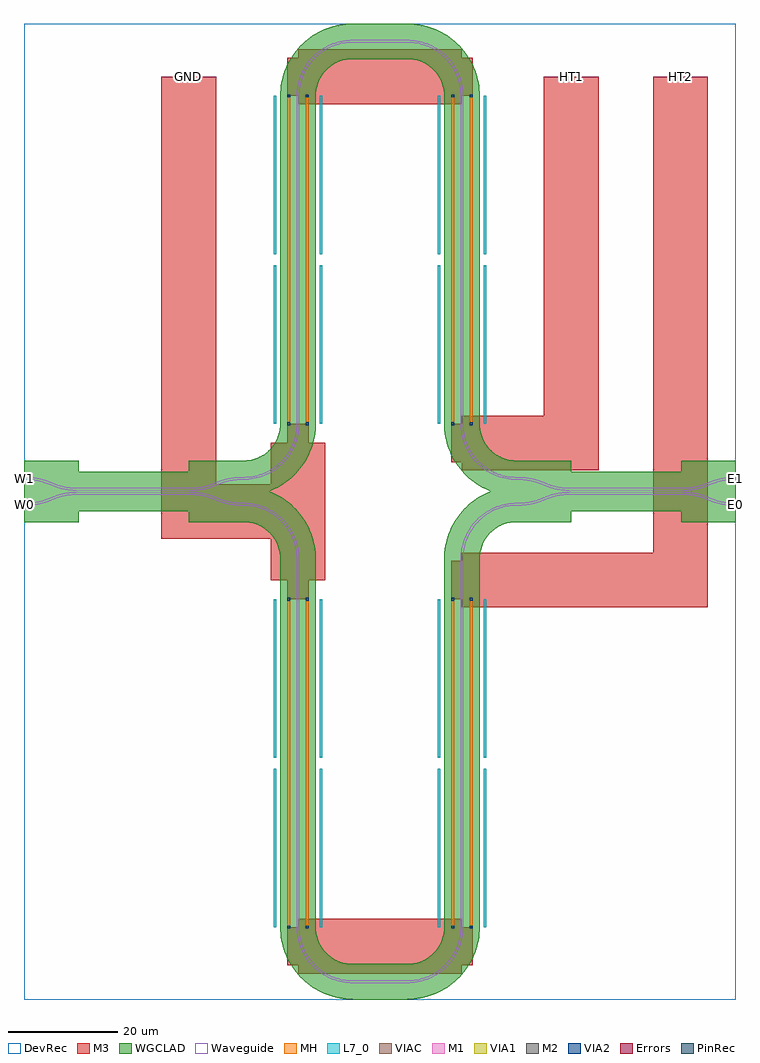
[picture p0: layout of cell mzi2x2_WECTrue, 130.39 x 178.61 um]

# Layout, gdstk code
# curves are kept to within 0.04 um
from math import pi, radians
import gdstk
lib = gdstk.Library(unit=1e-6, precision=1e-09)
def R(c, l, rs):  # rectangles x0, y0, x1, y1
    for r in rs: c.add(gdstk.rectangle(r[:2], r[2:], *l))
def P(c, l, *ps):  # polygons
    for p in ps: c.add(gdstk.Polygon(p, *l))
Waveguide = (1, 0)
PinRec = (1, 10)
L7_0 = (7, 0)
VIAC = (40, 0)
M1 = (41, 0)
VIA2 = (43, 0)
VIA1 = (44, 0)
M2 = (45, 0)
MH = (47, 0)
M3 = (49, 0)
DevRec = (68, 0)
Errors = (69, 0)
WGCLAD = (111, 0)

coupler_g234m_l20p15 = lib.new_cell('coupler_G234m_L20p15')
R(coupler_g234m_l20p15, Waveguide, [(0,0,20.147,0.5), (0,0.734,20.147,1.234)])
P(coupler_g234m_l20p15, Waveguide, [(0,0),(-1.603,-0.081),(-2.864,-0.294),(-3.98,-0.626),(-6.105,-1.432),(-7.326,-1.759),(-8.593,-1.941),(-10,-2),(-10,-1.5),(-8.397,-1.419),(-7.136,-1.206),(-6.02,-0.874),(-3.895,-0.068),(-2.674,0.259),(-1.407,0.441),(0,0.5)],
  [(0,1.234),(-1.603,1.315),(-2.864,1.528),(-3.98,1.86),(-6.105,2.666),(-7.326,2.993),(-8.593,3.175),(-10,3.234),(-10,2.734),(-8.397,2.653),(-7.136,2.44),(-6.02,2.108),(-3.895,1.302),(-2.674,0.975),(-1.407,0.793),(0,0.734)],
  [(20.147,1.234),(21.75,1.315),(23.011,1.528),(24.127,1.86),(26.252,2.666),(27.473,2.993),(28.74,3.175),(30.147,3.234),(30.147,2.734),(28.544,2.653),(27.283,2.44),(26.167,2.108),(24.042,1.302),(22.821,0.975),(21.554,0.793),(20.147,0.734)],
  [(20.147,0),(21.75,-0.081),(23.011,-0.294),(24.127,-0.626),(26.252,-1.432),(27.473,-1.759),(28.74,-1.941),(30.147,-2),(30.147,-1.5),(28.544,-1.419),(27.283,-1.206),(26.167,-0.874),(24.042,-0.068),(22.821,0.259),(21.554,0.441),(20.147,0.5)])
R(coupler_g234m_l20p15, WGCLAD, [(-10,-5,0,3.5), (20.147,-5,30.147,3.5), (0,-3,20.147,4.234), (-10,-2.266,0,6.234), (20.147,-2.266,30.147,6.234)])

bend_circular_r10p00 = lib.new_cell('bend_circular_R10p00')
P(bend_circular_r10p00, Waveguide, [(9.75,10),(9.593,8.259),(9.128,6.574),(8.37,4.999),(7.623,3.921),(7.047,3.262),(5.731,2.112),(4.23,1.216),(3.013,0.727),(2.17,0.494),(0.874,0.289),(0,0.25),(0,-0.25),(0.919,-0.209),(2.281,0.007),(3.167,0.252),(4.029,0.575),(4.857,0.974),(5.647,1.446),(6.391,1.986),(7.409,2.917),(8.014,3.609),(8.799,4.743),(9.425,5.971),(9.748,6.833),(9.993,7.719),(10.157,8.624),(10.25,10)])
P(bend_circular_r10p00, WGCLAD, [(6.75,10),(6.642,8.795),(6.32,7.628),(5.795,6.538),(5.461,6.032),(4.879,5.335),(3.968,4.539),(3.462,4.205),(2.653,3.793),(2.086,3.58),(1.205,3.358),(0,3.25),(0,-3.25),(1.779,-3.13),(3.525,-2.773),(5.208,-2.184),(6.796,-1.374),(8.261,-0.359),(9.577,0.843),(10.719,2.212),(11.668,3.721),(12.184,4.792),(12.773,6.475),(13.13,8.221),(13.25,10)])

wg_heater_connected_l60p = lib.new_cell('wg_heater_connected_L60p00')
R(wg_heater_connected_l60p, Waveguide, [(0,-0.25,60,0.25)])
R(wg_heater_connected_l60p, L7_0, [(0,-4.45,29,-3.95), (31,-4.45,60,-3.95), (0,3.95,29,4.45), (31,3.95,60,4.45)])
R(wg_heater_connected_l60p, VIAC, [(-0.25,-1.95,0.25,-1.45), (59.75,-1.95,60.25,-1.45), (-0.25,1.45,0.25,1.95), (59.75,1.45,60.25,1.95)])
R(wg_heater_connected_l60p, M1, [(-0.25,-1.95,0.25,-1.45), (59.75,-1.95,60.25,-1.45), (-0.25,1.45,0.25,1.95), (59.75,1.45,60.25,1.95)])
R(wg_heater_connected_l60p, VIA2, [(-0.25,-1.95,0.25,-1.45), (59.75,-1.95,60.25,-1.45), (-0.25,1.45,0.25,1.95), (59.75,1.45,60.25,1.95)])
R(wg_heater_connected_l60p, VIA1, [(-0.25,-1.95,0.25,-1.45), (59.75,-1.95,60.25,-1.45), (-0.25,1.45,0.25,1.95), (59.75,1.45,60.25,1.95)])
R(wg_heater_connected_l60p, M2, [(-0.25,-1.95,0.25,-1.45), (59.75,-1.95,60.25,-1.45), (-0.25,1.45,0.25,1.95), (59.75,1.45,60.25,1.95)])
R(wg_heater_connected_l60p, MH, [(0,-1.95,60,-1.45), (0,1.45,60,1.95)])
R(wg_heater_connected_l60p, M3, [(-7,-1.95,0,1.95), (-0.25,-1.95,0.25,-1.45), (59.75,-1.95,60.25,-1.45), (60,-1.95,67,1.95), (-0.25,1.45,0.25,1.95), (59.75,1.45,60.25,1.95)])
R(wg_heater_connected_l60p, WGCLAD, [(0,-3.25,60,3.25)])

waveguide_l10p00 = lib.new_cell('waveguide_L10p00')
R(waveguide_l10p00, Waveguide, [(0,-0.25,10,0.25)])
R(waveguide_l10p00, WGCLAD, [(0,-3.25,10,3.25)])

mzi_arm_3dfc484e = lib.new_cell('mzi_arm_3dfc484e')
mzi_arm_3dfc484e.add(gdstk.Reference(bend_circular_r10p00, (0,0)))
mzi_arm_3dfc484e.add(gdstk.Reference(wg_heater_connected_l60p, (10,10), rotation=pi/2))
mzi_arm_3dfc484e.add(gdstk.Reference(bend_circular_r10p00, (20,80), rotation=pi))
mzi_arm_3dfc484e.add(gdstk.Reference(waveguide_l10p00, (20,80)))
mzi_arm_3dfc484e.add(gdstk.Reference(bend_circular_r10p00, (40,70), rotation=pi/2))
mzi_arm_3dfc484e.add(gdstk.Reference(wg_heater_connected_l60p, (40,70), rotation=3*pi/2))
mzi_arm_3dfc484e.add(gdstk.Reference(bend_circular_r10p00, (40,10), rotation=3*pi/2))

waveguide_l7p38 = lib.new_cell('waveguide_L7p38')
R(waveguide_l7p38, Waveguide, [(0,-0.25,7.38,0.25)])
R(waveguide_l7p38, WGCLAD, [(0,-3.25,7.38,3.25)])

mzi_arm_913c8846 = lib.new_cell('mzi_arm_913c8846')
mzi_arm_913c8846.add(gdstk.Reference(bend_circular_r10p00, (0,0)))
mzi_arm_913c8846.add(gdstk.Reference(waveguide_l7p38, (10,10), rotation=pi/2))
mzi_arm_913c8846.add(gdstk.Reference(wg_heater_connected_l60p, (10,17.38), rotation=pi/2))
mzi_arm_913c8846.add(gdstk.Reference(bend_circular_r10p00, (20,87.38), rotation=pi))
mzi_arm_913c8846.add(gdstk.Reference(waveguide_l10p00, (20,87.38)))
mzi_arm_913c8846.add(gdstk.Reference(bend_circular_r10p00, (40,77.38), rotation=pi/2))
mzi_arm_913c8846.add(gdstk.Reference(wg_heater_connected_l60p, (40,77.38), rotation=3*pi/2))
mzi_arm_913c8846.add(gdstk.Reference(waveguide_l7p38, (40,17.38), rotation=3*pi/2))
mzi_arm_913c8846.add(gdstk.Reference(bend_circular_r10p00, (40,10), rotation=3*pi/2))

corner_l49_0_r0_w10p00 = lib.new_cell('corner_L49_0_R0_W10p00')
R(corner_l49_0_r0_w10p00, M3, [(-5,-5,5,5)])

wire_l49_0_l15p00_w10p00 = lib.new_cell('wire_L49_0_L15p00_W10p00')
R(wire_l49_0_l15p00_w10p00, M3, [(0,-5,15,5)])

wire_l49_0_l74p56_w10p00 = lib.new_cell('wire_L49_0_L74p56_W10p00')
R(wire_l49_0_l74p56_w10p00, M3, [(0,-5,74.557,5)])

zz_conn_366ce379me45fm4b = lib.new_cell('zz_conn_366ce379me45fm4b')
zz_conn_366ce379me45fm4b.add(gdstk.Reference(corner_l49_0_r0_w10p00, (-10,-6.057), rotation=pi, x_reflection=True))
zz_conn_366ce379me45fm4b.add(gdstk.Reference(wire_l49_0_l15p00_w10p00, (10,-6.057), rotation=pi))
zz_conn_366ce379me45fm4b.add(gdstk.Reference(wire_l49_0_l74p56_w10p00, (-10,-1.057), rotation=pi/2))

wire_l49_0_l62p00_w10p00 = lib.new_cell('wire_L49_0_L62p00_W10p00')
R(wire_l49_0_l62p00_w10p00, M3, [(0,-5,62,5)])

zz_conn_31945fc8mfe31m47 = lib.new_cell('zz_conn_31945fc8mfe31m47')
zz_conn_31945fc8mfe31m47.add(gdstk.Reference(corner_l49_0_r0_w10p00, (60,6.5)))
zz_conn_31945fc8mfe31m47.add(gdstk.Reference(wire_l49_0_l15p00_w10p00, (40,6.5)))
zz_conn_31945fc8mfe31m47.add(gdstk.Reference(wire_l49_0_l62p00_w10p00, (60,11.5), rotation=pi/2))

wire_l49_0_l35p00_w10p00 = lib.new_cell('wire_L49_0_L35p00_W10p00')
R(wire_l49_0_l35p00_w10p00, M3, [(0,-5,35,5)])

wire_l49_0_l87p11_w10p00 = lib.new_cell('wire_L49_0_L87p11_W10p00')
R(wire_l49_0_l87p11_w10p00, M3, [(0,-5,87.114,5)])

zz_conn_2e3b8948md5e3m4f = lib.new_cell('zz_conn_2e3b8948md5e3m4f')
zz_conn_2e3b8948md5e3m4f.add(gdstk.Reference(corner_l49_0_r0_w10p00, (80,-18.614)))
zz_conn_2e3b8948md5e3m4f.add(gdstk.Reference(wire_l49_0_l35p00_w10p00, (40,-18.614)))
zz_conn_2e3b8948md5e3m4f.add(gdstk.Reference(wire_l49_0_l87p11_w10p00, (80,-13.614), rotation=pi/2))

mzi2x2_wectrue = lib.new_cell('mzi2x2_WECTrue')
R(mzi2x2_wectrue, PinRec, [(-40.197,-4.984,-40.097,-4.484), (90.097,-4.984,90.197,-4.484), (-40.197,-0.25,-40.097,0.25), (90.097,-0.25,90.197,0.25)])
R(mzi2x2_wectrue, M3, [(10,-90.614,40,-80.614), (5,-18.614,15,6.5), (10,68.5,40,78.5)])
R(mzi2x2_wectrue, DevRec, [(-40.147,-95.364,90.147,83.25)])
R(mzi2x2_wectrue, Errors, [(-15,73.45,-5,73.55), (55,73.45,65,73.55), (75,73.45,85,73.55)])
mzi2x2_wectrue.add(gdstk.Reference(coupler_g234m_l20p15, (-30.147,-2.984)))
mzi2x2_wectrue.add(gdstk.Reference(mzi_arm_3dfc484e, (0,0)))
mzi2x2_wectrue.add(gdstk.Reference(coupler_g234m_l20p15, (60,-2.984)))
mzi2x2_wectrue.add(gdstk.Reference(mzi_arm_913c8846, (0,-4.734), x_reflection=True))
mzi2x2_wectrue.add(gdstk.Reference(zz_conn_366ce379me45fm4b, (0,0)))
mzi2x2_wectrue.add(gdstk.Reference(zz_conn_31945fc8mfe31m47, (0,0)))
mzi2x2_wectrue.add(gdstk.Reference(zz_conn_2e3b8948md5e3m4f, (0,0)))
mzi2x2_wectrue.add(gdstk.Label('W0', (-40.147,-4.734), layer=1, texttype=10))
mzi2x2_wectrue.add(gdstk.Label('W1', (-40.147,0), layer=1, texttype=10))
mzi2x2_wectrue.add(gdstk.Label('E0', (90.147,-4.734), layer=1, texttype=10))
mzi2x2_wectrue.add(gdstk.Label('E1', (90.147,0), layer=1, texttype=10))
mzi2x2_wectrue.add(gdstk.Label('GND', (-10,73.5), layer=69, texttype=0))
mzi2x2_wectrue.add(gdstk.Label('HT1', (60,73.5), layer=69, texttype=0))
mzi2x2_wectrue.add(gdstk.Label('HT2', (80,73.5), layer=69, texttype=0))

lib.write_gds('mzi2x2_WECTrue.gds')
